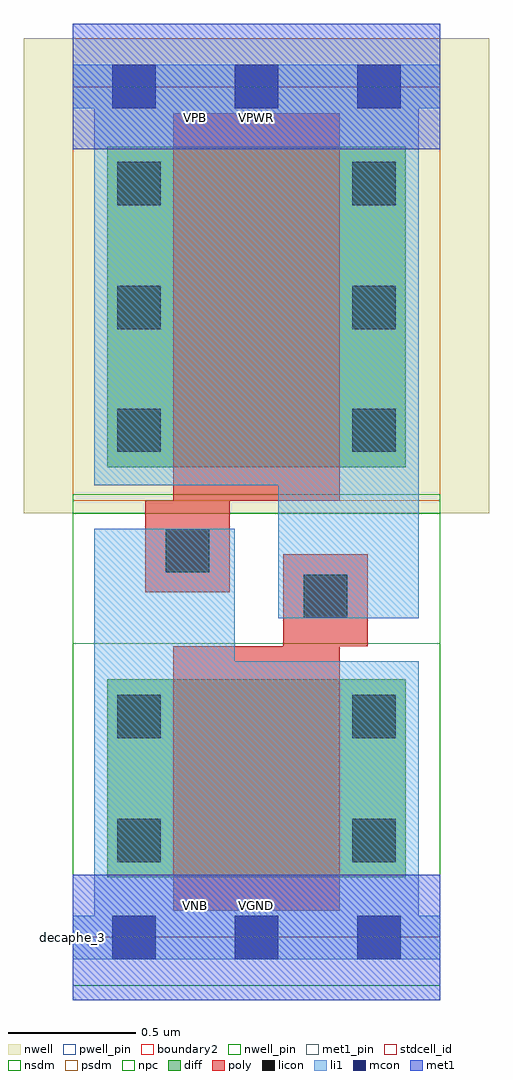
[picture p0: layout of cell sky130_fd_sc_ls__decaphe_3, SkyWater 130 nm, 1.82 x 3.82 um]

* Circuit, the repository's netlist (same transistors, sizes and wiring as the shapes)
* Copyright 2020 The SkyWater PDK Authors
*
* Licensed under the Apache License, Version 2.0 (the "License");
* you may not use this file except in compliance with the License.
* You may obtain a copy of the License at
*
*     https://www.apache.org/licenses/LICENSE-2.0
*
* Unless required by applicable law or agreed to in writing, software
* distributed under the License is distributed on an "AS IS" BASIS,
* WITHOUT WARRANTIES OR CONDITIONS OF ANY KIND, either express or implied.
* See the License for the specific language governing permissions and
* limitations under the License.
*
* SPDX-License-Identifier: Apache-2.0

.SUBCKT sky130_fd_sc_ls__decaphe_3 VGND VNB VPB VPWR
*.PININFO VGND:I VNB:I VPB:I VPWR:I
MI2 VGND VPWR VGND VNB sky130_fd_pr__nfet_01v8 m=1 w=0.775U l=0.65U mult=1 sa=0.265
+ sb=0.265 sd=0.28 area=0.063 perim=1.14
MI1 VPWR VGND VPWR VPB sky130_fd_pr__pfet_01v8 m=1 w=1.255U l=0.65U mult=1 sa=0.265
+ sb=0.265 sd=0.28 area=0.063 perim=1.14
.ENDS sky130_fd_sc_ls__decaphe_3

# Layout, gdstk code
import gdstk
lib = gdstk.Library(unit=1e-6, precision=1e-09)
def R(c, l, rs):  # rectangles x0, y0, x1, y1
    for r in rs: c.add(gdstk.rectangle(r[:2], r[2:], *l))
def A(c, l, x, y, w, h, nx, ny, dx, dy):  # array of equal rectangles
    R(c, l, [(x+i*dx, y+j*dy, x+i*dx+w, y+j*dy+h) for i in range(nx) for j in range(ny)])
def P(c, l, *ps):  # polygons
    for p in ps: c.add(gdstk.Polygon(p, *l))
nwell_pin = (64, 16)
nwell = (64, 20)
diff = (65, 20)
poly = (66, 20)
licon = (66, 44)
li1 = (67, 20)
mcon = (67, 44)
met1_pin = (68, 16)
met1 = (68, 20)
stdcell_id = (81, 4)
nsdm = (93, 44)
psdm = (94, 20)
npc = (95, 20)
pwell_pin = (122, 16)
boundary2 = (236, 0)

sky130_fd_sc_ls__decaphe = lib.new_cell('sky130_fd_sc_ls__decaphe_3')
R(sky130_fd_sc_ls__decaphe, nwell_pin, [(0,3.085,1.44,3.33)])
R(sky130_fd_sc_ls__decaphe, nwell, [(-0.19,1.66,1.63,3.52)])
R(sky130_fd_sc_ls__decaphe, diff, [(0.135,0.235,1.305,1.01), (0.135,1.84,1.305,3.095)])
P(sky130_fd_sc_ls__decaphe, poly, [(1.045,3.225),(0.395,3.225),(0.395,1.71),(0.285,1.71),(0.285,1.35),(0.615,1.35),(0.615,1.71),(1.045,1.71)],
  [(1.155,1.5),(0.825,1.5),(0.825,1.14),(0.395,1.14),(0.395,0.105),(1.045,0.105),(1.045,1.14),(1.155,1.14)])
R(sky130_fd_sc_ls__decaphe, licon, [(0.175,0.295,0.345,0.465), (1.095,0.295,1.265,0.465), (0.175,0.78,0.345,0.95), (1.095,0.78,1.265,0.95), (0.905,1.25,1.075,1.42), (0.365,1.43,0.535,1.6), (0.175,1.9,0.345,2.07), (1.095,1.9,1.265,2.07), (0.175,2.38,0.345,2.55), (1.095,2.38,1.265,2.55), (0.175,2.865,0.345,3.035), (1.095,2.865,1.265,3.035)])
P(sky130_fd_sc_ls__decaphe, li1, [(1.44,0.085),(1.355,0.085),(1.355,1.08),(0.635,1.08),(0.635,1.6),(0.085,1.6),(0.085,0.085),(0,0.085),(0,-0.085),(1.44,-0.085)],
  [(1.44,3.415),(0,3.415),(0,3.245),(0.085,3.245),(0.085,1.77),(0.805,1.77),(0.805,1.25),(1.355,1.25),(1.355,3.245),(1.44,3.245)])
A(sky130_fd_sc_ls__decaphe, mcon, 0.155, -0.085, 0.17, 0.17, 3, 2, 0.48, 3.33)
R(sky130_fd_sc_ls__decaphe, met1_pin, [(0,0,1.44,0.245), (0,3.085,1.44,3.33)])
R(sky130_fd_sc_ls__decaphe, met1, [(0,-0.245,1.44,0.245), (0,3.085,1.44,3.575)])
R(sky130_fd_sc_ls__decaphe, stdcell_id, [(0,0,1.44,3.33)])
R(sky130_fd_sc_ls__decaphe, nsdm, [(0,-0.19,1.44,1.66)])
R(sky130_fd_sc_ls__decaphe, psdm, [(0,1.71,1.44,3.52)])
R(sky130_fd_sc_ls__decaphe, npc, [(0,1.15,1.44,1.735)])
R(sky130_fd_sc_ls__decaphe, pwell_pin, [(0,0,1.44,0.245)])
R(sky130_fd_sc_ls__decaphe, boundary2, [(0,0,1.44,3.33)])
sky130_fd_sc_ls__decaphe.add(gdstk.Label('decaphe_3', (0,0), layer=83, texttype=44))
sky130_fd_sc_ls__decaphe.add(gdstk.Label('VNB', (0.48,0.123), layer=64, texttype=59))
sky130_fd_sc_ls__decaphe.add(gdstk.Label('VPB', (0.48,3.208), layer=64, texttype=5))
sky130_fd_sc_ls__decaphe.add(gdstk.Label('VPWR', (0.72,3.208), layer=68, texttype=5))
sky130_fd_sc_ls__decaphe.add(gdstk.Label('VGND', (0.72,0.123), layer=68, texttype=5))

lib.write_gds('sky130_fd_sc_ls__decaphe_3.gds')
